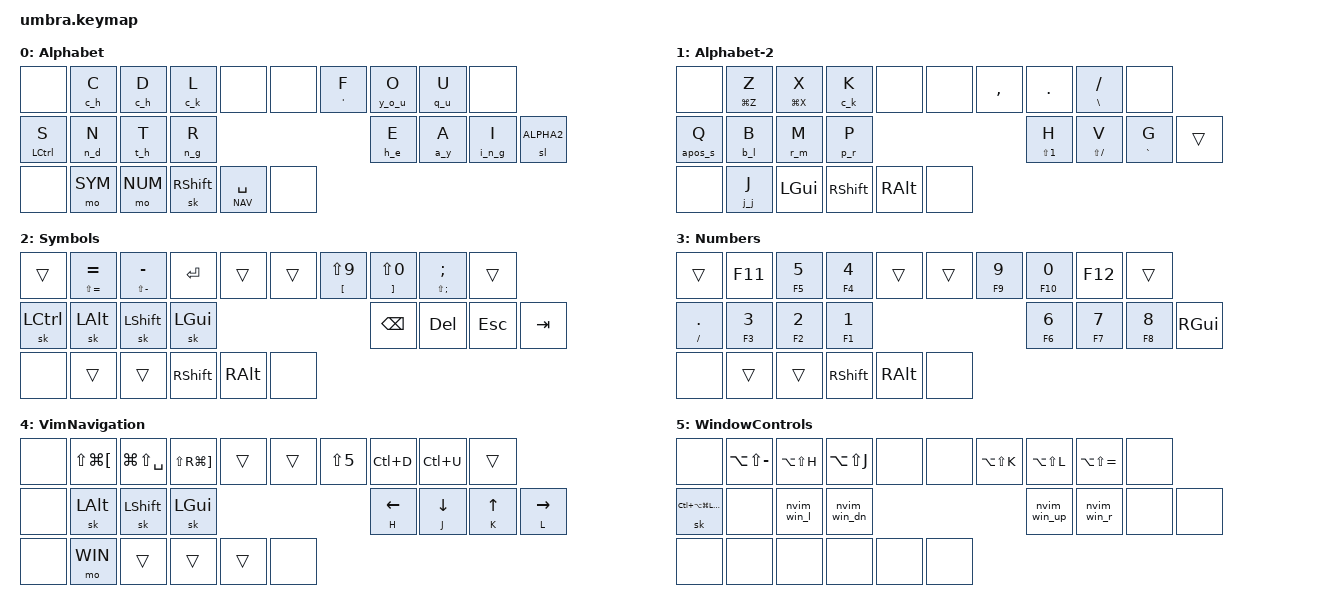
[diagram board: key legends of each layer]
/*
 * Copyright (c) 2022 The ZMK Contributors
 *
 * SPDX-License-Identifier: MIT
 */

#include <behaviors.dtsi>
#include <dt-bindings/zmk/bt.h>
#include <dt-bindings/zmk/keys.h>

/*
 *                       UNIVERSAL KEY POSITION NAMES
 *      https://github.com/skarrmann/umbra/blob/main/firmware/kmk/kb.py
 *
 *     Index (for combos)
 *     ╭─────────────────────╮                  ╭─────────────────────╮
 *     │   0   1   2   3   4 │                  │  5   6   7   8   9  │
 *     │  10  11  12  13     │                  │     14  15  16  17  │
 *     ╰────────╮ 18  19  20 │                  │ 21  22  23 ╭────────╯
 *              ╰────────────╯                  ╰────────────╯
 *
 *     GPIO (for MCU pins)
 *     ╭─────────────────────╮                  ╭─────────────────────╮
 *     │   0   1   2   3   4 │                  │ 21  22  26  27  28  │
 *     │   8   7   6   5     │                  │     20  19  18  17  │
 *     ╰────────╮  9  10  11 │                  │ 12  13  14 ╭────────╯
 *              ╰────────────╯                  ╰────────────╯
 */

#define DEF 0
#define ALPHA 0
#define ALPHA2 1
#define SYM 2
#define NUM 3
#define NAV 4
#define WIN 5

/ {
    behaviors {

        // hold for qu, tap for kp
        ht_qu: ht_qu {
            compatible = "zmk,behavior-hold-tap";
            #binding-cells = <2>;
            tapping-term-ms = <200>;
            bindings = <&q_u>, <&kp>;
            flavor = "tap-preferred";
        };

        ht: ht {
            compatible = "zmk,behavior-hold-tap";
            #binding-cells = <2>;
            tapping-term-ms = <200>;
            bindings = <&kp>, <&kp>;
            flavor = "tap-preferred";
            require-prior-idle-ms = <500>;
        };

        // hold tap, no prior idle
        ht_npi: ht_npi {
            compatible = "zmk,behavior-hold-tap";
            #binding-cells = <2>;
            tapping-term-ms = <200>;
            bindings = <&kp>, <&kp>;
            flavor = "tap-preferred";
        };

        // hold for ck, tap for kp
        ht_ck: ht_ck {
            compatible = "zmk,behavior-hold-tap";
            #binding-cells = <2>;
            tapping-term-ms = <200>;
            bindings = <&c_k>, <&kp>;
            flavor = "tap-preferred";
        };

        // hold for jj, tap for kp
        ht_jj: ht_jj {
            compatible = "zmk,behavior-hold-tap";
            #binding-cells = <2>;
            tapping-term-ms = <200>;
            bindings = <&j_j>, <&kp>;
            flavor = "tap-preferred";
        };

        // hold for you, tap for kp
        ht_you: ht_you {
            compatible = "zmk,behavior-hold-tap";
            #binding-cells = <2>;
            tapping-term-ms = <200>;
            bindings = <&y_o_u>, <&kp>;
            flavor = "tap-preferred";
        };

        // hold for ay, tap for kp
        ht_ay: ht_ay {
            compatible = "zmk,behavior-hold-tap";
            #binding-cells = <2>;
            tapping-term-ms = <200>;
            bindings = <&a_y>, <&kp>;
            flavor = "tap-preferred";
        };

        // hold for nd, tap for kp
        ht_nd: ht_nd {
            compatible = "zmk,behavior-hold-tap";
            #binding-cells = <2>;
            tapping-term-ms = <200>;
            bindings = <&n_d>, <&kp>;
            flavor = "tap-preferred";
        };

        // hold for wh, tap for kp
        ht_wh: ht_wh {
            compatible = "zmk,behavior-hold-tap";
            #binding-cells = <2>;
            tapping-term-ms = <200>;
            bindings = <&w_h>, <&kp>;
            flavor = "tap-preferred";
        };

        // hold for 's, tap for kp
        ht_aposs: ht_aposs {
            compatible = "zmk,behavior-hold-tap";
            #binding-cells = <2>;
            tapping-term-ms = <200>;
            bindings = <&apos_s>, <&kp>;
            flavor = "tap-preferred";
        };

        // hold for ey, tap for kp
        ht_ey: ht_ey {
            compatible = "zmk,behavior-hold-tap";
            #binding-cells = <2>;
            tapping-term-ms = <200>;
            bindings = <&e_y>, <&kp>;
            flavor = "tap-preferred";
        };

        // hold for pr, tap for kp
        ht_pr: ht_pr {
            compatible = "zmk,behavior-hold-tap";
            #binding-cells = <2>;
            tapping-term-ms = <200>;
            bindings = <&p_r>, <&kp>;
            flavor = "tap-preferred";
        };

        // hold for rm, tap for kp
        ht_rm: ht_rm {
            compatible = "zmk,behavior-hold-tap";
            #binding-cells = <2>;
            tapping-term-ms = <200>;
            bindings = <&r_m>, <&kp>;
            flavor = "tap-preferred";
        };

        // hold tap, long prior idle
        ht_long: ht_long {
            compatible = "zmk,behavior-hold-tap";
            #binding-cells = <2>;
            tapping-term-ms = <200>;
            bindings = <&kp>, <&kp>;
            flavor = "tap-preferred";
            require-prior-idle-ms = <5000>;
        };

        // hold for ng, tap for kp
        ht_ng: ht_ng {
            compatible = "zmk,behavior-hold-tap";
            #binding-cells = <2>;
            tapping-term-ms = <200>;
            bindings = <&n_g>, <&kp>;
            flavor = "tap-preferred";
        };

        // hold for ing, tap for kp
        ht_ing: ht_ing {
            compatible = "zmk,behavior-hold-tap";
            #binding-cells = <2>;
            tapping-term-ms = <200>;
            bindings = <&i_n_g>, <&kp>;
            flavor = "tap-preferred";
        };

        // hold for ch, tap for kp
        ht_ch: ht_ch {
            compatible = "zmk,behavior-hold-tap";
            #binding-cells = <2>;
            tapping-term-ms = <200>;
            bindings = <&c_h>, <&kp>;
            flavor = "tap-preferred";
        };

        // hold for th, tap for kp
        ht_th: ht_th {
            compatible = "zmk,behavior-hold-tap";
            #binding-cells = <2>;
            tapping-term-ms = <200>;
            bindings = <&t_h>, <&kp>;
            flavor = "tap-preferred";
        };

        // hold for he, tap for kp
        ht_he: ht_he {
            compatible = "zmk,behavior-hold-tap";
            #binding-cells = <2>;
            tapping-term-ms = <200>;
            bindings = <&h_e>, <&kp>;
            flavor = "tap-preferred";
        };

        // hold for bl, tap for kp
        ht_bl: ht_bl {
            compatible = "zmk,behavior-hold-tap";
            #binding-cells = <2>;
            tapping-term-ms = <200>;
            bindings = <&b_l>, <&kp>;
            flavor = "tap-preferred";
        };
    };

    combos {
        compatible = "zmk,combos";

        // ZMK combo key-positions are indices into the matrix-transform
        // map in umbra.overlay (RC(0,0)..RC(0,23)), which equals the
        // reading order of bindings in each layer. They are NOT the
        // KMK/universal GPIO-labeled positions shown in the header
        // diagram. See the index->GPIO table at the bottom of this file.
/*
 *     Index
 *     ╭─────────────────────╮                  ╭─────────────────────╮
 *     │   0   1   2   3   4 │                  │  5   6   7   8   9  │
 *     │  10  11  12  13     │                  │     14  15  16  17  │
 *     ╰────────╮ 18  19  20 │                  │ 21  22  23 ╭────────╯
 *              ╰────────────╯                  ╰────────────╯
 */

        // y
        combo_whai {
            timeout-ms = <50>;
            key-positions = <14 16>;
            bindings = <&ht_ey 0 Y>;
            require-prior-idle-ms = <50>;
        };

        // w
        combo_doubleeew {
            timeout-ms = <50>;
            key-positions = <11 13>;
            bindings = <&ht_wh 0 W>;
            require-prior-idle-ms = <50>;
        };

        combo_win_u {
            timeout-ms = <50>;
            key-positions = <8 17>;
            bindings = <&nvim_win_up>;
            layers = <ALPHA>;
            require-prior-idle-ms = <350>;
        };

        combo_win_r {
            timeout-ms = <50>;
            key-positions = <6 17>;
            bindings = <&nvim_win_r>;
            layers = <ALPHA>;
            require-prior-idle-ms = <350>;
        };

        combo_win_l {
            timeout-ms = <50>;
            key-positions = <10 3>;
            bindings = <&nvim_win_l>;
            layers = <ALPHA>;
            require-prior-idle-ms = <350>;
        };

        combo_win_d {
            timeout-ms = <50>;
            key-positions = <10 1>;
            bindings = <&nvim_win_dn>;
            layers = <ALPHA>;
            require-prior-idle-ms = <350>;
        };
    };

    //

    macros {

        // qu
        q_u: q_u {
            label = "&Q_U";
            compatible = "zmk,behavior-macro";
            #binding-cells = <0>;
            tap-ms = <5>;
            wait-ms = <5>;
            bindings = <&kp Q>
                , <&kp U>;
        };

        // ck
        c_k: c_k {
            label = "&C_K";
            compatible = "zmk,behavior-macro";
            #binding-cells = <0>;
            tap-ms = <5>;
            wait-ms = <5>;
            bindings = <&kp C>
                , <&kp K>;
        };

        // jj
        j_j: j_j {
            label = "&J_J";
            compatible = "zmk,behavior-macro";
            #binding-cells = <0>;
            tap-ms = <5>;
            wait-ms = <5>;
            bindings = <&kp J>
                , <&kp J>;
        };

        // _wh
        nvim_win_l: nvim_win_l {
            label = "&NVIM_WIN_L";
            compatible = "zmk,behavior-macro";
            #binding-cells = <0>;
            tap-ms = <15>;
            wait-ms = <15>;
            bindings = <&kp SPACE>
                , <&kp W>
                , <&kp H>;
        };

        // _wj
        nvim_win_dn: nvim_win_dn {
            label = "&NVIM_WIN_DN";
            compatible = "zmk,behavior-macro";
            #binding-cells = <0>;
            tap-ms = <15>;
            wait-ms = <15>;
            bindings = <&kp SPACE>
                , <&kp W>
                , <&kp J>;
        };

        // _wk
        nvim_win_up: nvim_win_up {
            label = "&NVIM_WIN_UP";
            compatible = "zmk,behavior-macro";
            #binding-cells = <0>;
            tap-ms = <15>;
            wait-ms = <15>;
            bindings = <&kp SPACE>
                , <&kp W>
                , <&kp K>;
        };

        // _wl
        nvim_win_r: nvim_win_r {
            label = "&NVIM_WIN_R";
            compatible = "zmk,behavior-macro";
            #binding-cells = <0>;
            tap-ms = <15>;
            wait-ms = <15>;
            bindings = <&kp SPACE>
                , <&kp W>
                , <&kp L>;
        };

        // pr
        p_r: p_r {
            label = "&P_R";
            compatible = "zmk,behavior-macro";
            #binding-cells = <0>;
            tap-ms = <5>;
            wait-ms = <5>;
            bindings = <&kp P>
                , <&kp R>;
        };

        // you
        y_o_u: y_o_u {
            label = "&Y_O_U";
            compatible = "zmk,behavior-macro";
            #binding-cells = <0>;
            tap-ms = <5>;
            wait-ms = <5>;
            bindings = <&kp Y>
                , <&kp O>
                , <&kp U>;
        };

        // ay
        a_y: a_y {
            label = "&A_Y";
            compatible = "zmk,behavior-macro";
            #binding-cells = <0>;
            tap-ms = <5>;
            wait-ms = <5>;
            bindings = <&kp A>
                , <&kp Y>;
        };

        // nd
        n_d: n_d {
            label = "&N_D";
            compatible = "zmk,behavior-macro";
            #binding-cells = <0>;
            tap-ms = <5>;
            wait-ms = <5>;
            bindings = <&kp N>
                , <&kp D>;
        };

        // wh
        w_h: w_h {
            label = "&W_H";
            compatible = "zmk,behavior-macro";
            #binding-cells = <0>;
            tap-ms = <5>;
            wait-ms = <5>;
            bindings = <&kp W>
                , <&kp H>;
        };

        // 's
        apos_s: apos_s {
            label = "&APOS_S";
            compatible = "zmk,behavior-macro";
            #binding-cells = <0>;
            tap-ms = <5>;
            wait-ms = <5>;
            bindings = <&kp SQT>
                , <&kp S>;
        };

        // ey
        e_y: e_y {
            label = "&E_Y";
            compatible = "zmk,behavior-macro";
            #binding-cells = <0>;
            tap-ms = <5>;
            wait-ms = <5>;
            bindings = <&kp E>
                , <&kp Y>;
        };

        // rm
        r_m: r_m {
            label = "&R_M";
            compatible = "zmk,behavior-macro";
            #binding-cells = <0>;
            tap-ms = <5>;
            wait-ms = <5>;
            bindings = <&kp R>
                , <&kp M>;
        };

        // ng
        n_g: n_g {
            label = "&N_G";
            compatible = "zmk,behavior-macro";
            #binding-cells = <0>;
            tap-ms = <5>;
            wait-ms = <5>;
            bindings = <&kp N>
                , <&kp G>;
        };

        // ing
        i_n_g: i_n_g {
            label = "&I_N_G";
            compatible = "zmk,behavior-macro";
            #binding-cells = <0>;
            tap-ms = <5>;
            wait-ms = <5>;
            bindings = <&kp I>
                , <&kp N>
                , <&kp G>;
        };

        // ch
        c_h: c_h {
            label = "&C_H";
            compatible = "zmk,behavior-macro";
            #binding-cells = <0>;
            tap-ms = <5>;
            wait-ms = <5>;
            bindings = <&kp C>
                , <&kp H>;
        };

        // th
        t_h: t_h {
            label = "&T_H";
            compatible = "zmk,behavior-macro";
            #binding-cells = <0>;
            tap-ms = <5>;
            wait-ms = <5>;
            bindings = <&kp T>
                , <&kp H>;
        };

        // he
        h_e: h_e {
            label = "&H_E";
            compatible = "zmk,behavior-macro";
            #binding-cells = <0>;
            tap-ms = <5>;
            wait-ms = <5>;
            bindings = <&kp H>
                , <&kp E>;
        };

        // bl
        b_l: b_l {
            label = "&B_L";
            compatible = "zmk,behavior-macro";
            #binding-cells = <0>;
            tap-ms = <5>;
            wait-ms = <5>;
            bindings = <&kp B>
                , <&kp L>;
        };
    };

    keymap {
        compatible = "zmk,keymap";

        ALPHA {
/*
 *  ╭──────────────────────╮      ╭─────────────────────╮
 *  │   _   c   d   l    _ │      │  _   f   o   u   _  │
 *  │   s   n   t   r      │      │      e   a   i  A2  │
 *  ╰────────╮  _  sym num │      │ shf spc  _ ╭────────╯
 *           ╰─────────────╯      ╰────────────╯
 */
            display-name = "Alphabet";

            bindings = <
 &none &ht_ch 0 C  &ht_ch 0 D  &ht_ck 0 L &none /* */ &none &ht_npi SQT F  &ht_you 0 O   &ht_qu 0 U &none
 &ht LCTRL S  &ht_nd 0 N  &ht_th 0 T  &ht_ng 0 R /* */ &ht_he 0 E   &ht_ay 0 A  &ht_ing 0 I  &sl ALPHA2
 &none &mo SYM  &mo NUM /* */ &sk RIGHT_SHIFT &lt NAV SPACE &none
            >;

            label = "Alphabet";
        };

        ALPHA2 {
/*
 *  ╭────────────────────╮      ╭─────────────────────╮
 *  │  _   z   x   k  _  │      │  _   ,   .   _   _  │
 *  │  q   b   m   f     │      │      h   v   g   _  │
 *  ╰───────╮  _   j gui │      │ shf alt  _ ╭────────╯
 *          ╰────────────╯      ╰────────────╯
 */
            display-name = "Alphabet-2";

            bindings = <
 &none &ht LG(Z) Z  &ht LG(X) X  &ht_ck 0 K &none /* */ &none &kp COMMA &kp DOT  &ht_npi BSLH FSLH &none
 &ht_aposs 0 Q   &ht_bl 0 B   &ht_rm 0 M  &ht_pr 0 P /* */ &ht_npi LS(N1) H  &ht_npi LS(FSLH) V    &ht_npi GRAVE G &trans
 &none &ht_jj 0 J &kp LGUI /* */ &kp RSHFT &kp RALT &none
            >;

            label = "Alphabet2";
        };

        SYM {
/*
 *  ╭─────────────────────╮      ╭─────────────────────╮
 *  │   _   =   -  ret  _ │      │  _   (   )   ;   _  │
 *  │  ctr alt sft gui    │      │     bks del esc tab │
 *  ╰────────╮  _   _   _ │      │ shf alt  _ ╭────────╯
 *           ╰────────────╯      ╰────────────╯
 */
            display-name = "Symbols";

            bindings = <
 &trans &ht_npi LS(EQUAL) EQUAL  &ht_npi LS(MINUS) MINUS   &kp RET &trans /* */ &trans &ht_npi LBKT LS(N9)  &ht_npi RBKT LS(N0)  &ht_npi LS(SEMI) SEMI &trans
 &sk LCTRL &sk LALT &sk LSHFT  &sk LGUI /* */ &kp BSPC &kp DEL &kp ESC  &kp TAB
 &none &trans &trans /* */ &kp RSHFT &kp RALT &none
            >;

            label = "Sym";
        };

        NUM {
/*
 *  ╭───────────────────╮      ╭─────────────────╮
 *  │   _  f11 5  4   _ │      │  _   9  0 f12 _ │
 *  │   ./  3  2  1     │      │      6  7  8  _ │
 *  ╰────────╮  _  _  _ │      │ shf alt _ ╭─────╯
 *           ╰──────────╯      ╰───────────╯
 */
            display-name = "Numbers";

            bindings = <
 &trans &kp F11  &ht_long F5 N5  &ht_long F4 N4 &trans /* */ &trans &ht_long F9 N9  &ht_long F10 N0 &kp F12 &trans
 &ht_npi FSLH DOT  &ht_long F3 N3  &ht_long F2 N2  &ht_long F1 N1 /* */ &ht_long F6 N6   &ht_long F7 N7  &ht_long F8 N8  &kp RGUI
 &none &trans &trans /* */ &kp RSHFT &kp RALT &none
            >;

            label = "Num";
        };

        VIMNAV {
/*
 *  ╭─────────────────────╮      ╭────────────────────╮
 *  │ _   .[  ._  .]   _  │      │  _  %  pdn pup  _  │
 *  │ _  alt shf gui      │      │     h   j   k   l  │
 *  ╰────────╮  _ WIN  _  │      │  _   _   _ ╭───────╯
 *           ╰────────────╯      ╰────────────╯
 */
            display-name = "VimNavigation";

            bindings = <
 &none &kp LS(LG(LBKT)) &kp LG(LS(SPACE)) &kp LS(RG(RBKT)) &trans /* */ &trans &kp LS(N5) &kp LC(D) &kp LC(U) &trans
 &none &sk LALT &sk LSHFT &sk LGUI /* */ &ht_npi H LEFT &ht_npi J DOWN &ht_npi K UP &ht_npi L RIGHT
 &none &mo WIN &trans /* */ &trans &trans &none
            >;

            label = "VimNav";
        };

        Window {
/*
 *  ╭─────────────────────╮      ╭─────────────────────╮
 *  │   _  .-  .h  .j   _ │      │  _  .k  .l  .+   _  │
 *  │ hypr  _  :h  :j     │      │     :k  :l   _   _  │
 *  ╰────────╮  _   _   _ │      │  _   _   _ ╭────────╯
 *           ╰────────────╯      ╰────────────╯
 */
            display-name = "WindowControls";

            bindings = <
 &none &kp LA(LS(MINUS)) &kp LA(LS(H)) &kp LA(LS(J)) &none /* */ &none &kp LA(LS(K)) &kp LA(LS(L)) &kp LA(LS(EQUAL)) &none
 &sk LC(LA(LG(LSHFT))) &none &nvim_win_l &nvim_win_dn /* */ &nvim_win_up &nvim_win_r &none &none
 &none &none &none /* */ &none &none &none
            >;

            label = "WIN";
        };
    };

    conditional_layers { compatible = "zmk,conditional-layers"; };
};

/* # Index : GPIO (RP2040) */
/* 0  : GP0 */
/* 1  : GP1 */
/* 2  : GP2 */
/* 3  : GP3 */
/* 4  : GP4 */
/* 5  : GP21 */
/* 6  : GP22 */
/* 7  : GP26 */
/* 8  : GP27 */
/* 9  : GP28 */
/* 10 : GP8 */
/* 11 : GP7 */
/* 12 : GP6 */
/* 13 : GP5 */
/* 14 : GP20 */
/* 15 : GP19 */
/* 16 : GP18 */
/* 17 : GP17 */
/* 18 : GP9 */
/* 19 : GP10 */
/* 20 : GP11 */
/* 21 : GP12 */
/* 22 : GP13 */
/* 23 : GP14 */

